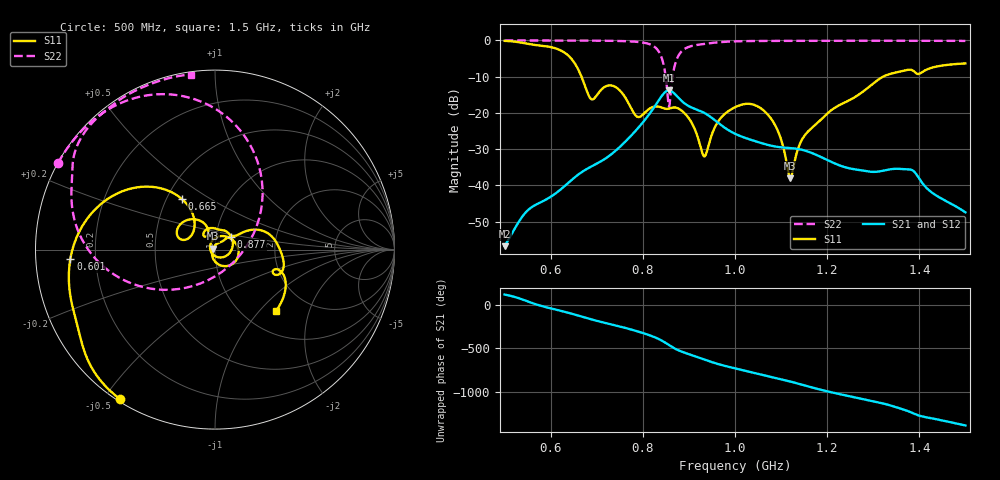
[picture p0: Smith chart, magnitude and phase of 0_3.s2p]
! TOUCHSTONE file generated by CST MICROWAVE STUDIO
! Date and time: Sat Oct 24 11:10:44 2020
! Project name: Scenario_1_Circular_Tissue_in_Line.cst
! Parameters = {L_HA=400; MT=2.54; Rad_Dielectric=30; Rad_Lower=7.3; Rad_Upper=30; a_HA=580; a_WG=246; b_HA=500; b_WG=121; c_HA=0; c_WG=187; d_feed=85; dx1=207.64; h_feed=15; h_lower=18; h_upper=40}
! Header version: 2018
! Port assignment regex: !\s*Touchstone port\s*([0-9]+)\s*=\s*(CST MWS port|CST DS port)\s*([0-9]+|Zmin|Zmax)\s*\(\"(.*)\"\)(\s*mode\s*([0-9]+))?.*
! Touchstone port assignment:
! Touchstone port 1 = CST MWS port 1 ("")
! Touchstone port 2 = CST MWS port 2 ("")
# GHz S DB R 50
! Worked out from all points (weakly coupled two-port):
!   1003 points, 500 MHz to 1.5 GHz, reference 50 ohm
!   highest |S21| = -13.79 dB at 856 MHz (marker M1); lowest = -56.7 dB at 500 MHz (marker M2)
!   lowest |S11| = -38.0 dB at 1.12 GHz (marker M3), VSWR 1.03, Z = 48.8 + j0.479 ohm
!   |S11| at or under -10 dB: 666.9 MHz to 1.321 GHz (654.5 MHz wide, 65.8 % of centre)
!   |S22| runs from -18.3 to 0.0 dB; largest |S21 - S12| = 3.9e-05
!   S11 on the Smith chart (normalised r, x): 500 MHz: 0.01, -0.55; 601 MHz: 0.11, -0.03; 665 MHz: 0.60, +0.38; 877 MHz: 1.19, +0.17; 1.5 GHz: 1.39, -1.24
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0.5  -0.12 -122.6  -56.75 115.7  -56.75 115.7  -0.01 151.1
0.547  -0.88 -145.5  -47.26 43.1  -47.26 43.1  -0.01 148.0
0.601  -1.86 -176.3  -43.05 -43.6  -43.05 -43.6  -0.02 144.1
0.639  -4.27 148.0  -39.20 -93.8  -39.20 -93.8  -0.03 141.0
0.665  -9.43 123.2  -36.53 -133.1  -36.53 -133.1  -0.04 138.6
0.667  -10.04 122.3  -36.35 -136.2  -36.35 -136.2  -0.04 138.4
0.688  -16.20 142.6  -34.79 -168.0  -34.79 -168.0  -0.05 136.2
0.736  -12.57 139.5  -30.95 128.9  -30.95 128.9  -0.12 130.0
0.782  -20.31 113.0  -25.25 64.8  -25.25 64.8  -0.33 119.9
0.834  -18.26 100.2  -16.62 -31.4  -16.62 -31.4  -2.95 81.6
0.846  -18.73 85.9  -14.55 -65.6  -14.55 -65.6  -7.25 52.4
0.856  -18.84 75.6  -13.79 -99.5  -13.79 -99.5  -17.94 -30.2
0.877  -18.77 38.3  -15.78 -161.2  -15.78 -161.2  -4.25 -169.7
0.933  -31.99 -152.1  -19.96 94.0  -19.96 94.0  -0.97 152.9
0.963  -22.43 74.6  -22.70 41.8  -22.70 41.8  -0.52 146.7
1  -18.44 17.9  -25.73 -8.0  -25.73 -8.0  -0.26 140.6
1.074  -20.87 -72.5  -28.91 -100.3  -28.91 -100.3  -0.13 132.0
1.12  -37.99 157.1  -29.68 -158.3  -29.68 -158.3  -0.13 128.0
1.167  -24.10 48.0  -31.06 133.6  -31.06 133.6  -0.10 124.3
1.334  -9.34 7.9  -35.60 -66.9  -35.60 -66.9  -0.09 111.5
1.385  -8.23 -19.9  -35.82 -157.6  -35.82 -157.6  -0.09 107.5
1.5  -6.35 -45.1  -47.42 59.4  -47.40 58.9  -0.14 97.8
